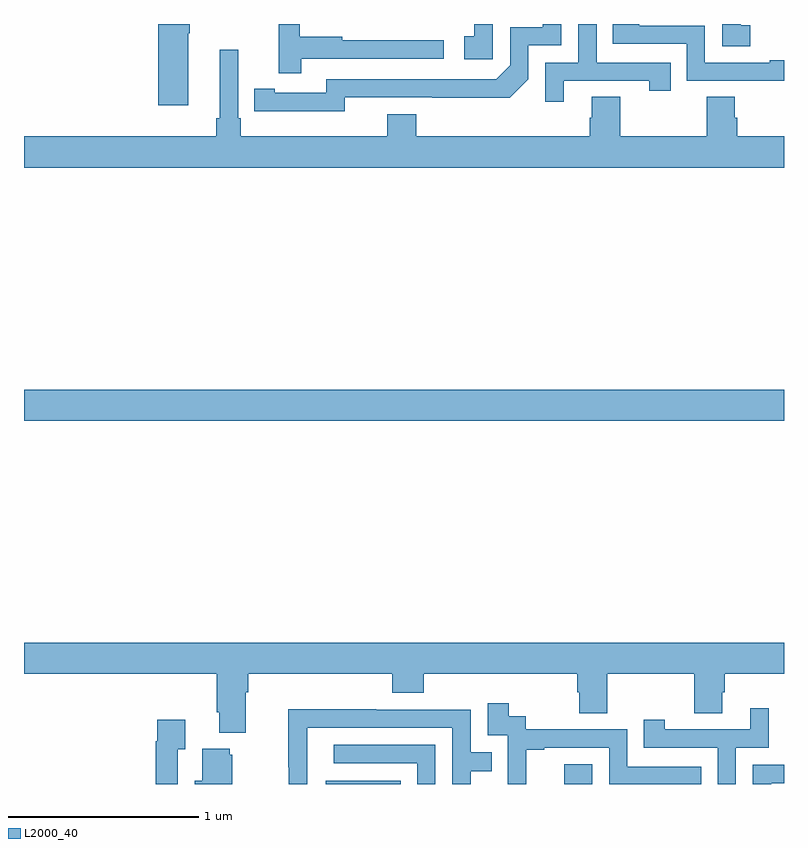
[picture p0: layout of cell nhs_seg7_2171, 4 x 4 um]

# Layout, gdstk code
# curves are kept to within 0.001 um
import gdstk
lib = gdstk.Library(unit=1e-6, precision=1e-09)
def R(c, l, rs):  # rectangles x0, y0, x1, y1
    for r in rs: c.add(gdstk.rectangle(r[:2], r[2:], *l))
def P(c, l, *ps):  # polygons
    for p in ps: c.add(gdstk.Polygon(p, *l))
L2000_40 = (2000, 40)

nhs_seg7_2171 = lib.new_cell('nhs_seg7_2171')
R(nhs_seg7_2171, L2000_40, [(254.588,1036,254.984,1036.018), (255.843,1036,255.99,1036.105), (253,1037.912,257,1038.076)])
P(nhs_seg7_2171, L2000_40, [(256.822,1039.993),(256.773,1039.993),(256.773,1040),(256.674,1040),(256.674,1039.884),(256.822,1039.884)],
  [(255.468,1040),(255.371,1040),(255.371,1039.935),(255.318,1039.935),(255.318,1039.815),(255.468,1039.815)],
  [(253.864,1039.951),(253.872,1039.951),(253.872,1040),(253.706,1040),(253.706,1039.572),(253.864,1039.572)],
  [(254.459,1039.818),(255.208,1039.818),(255.208,1039.914),(254.675,1039.914),(254.675,1039.934),(254.452,1039.934),(254.452,1040),(254.342,1040),(254.342,1039.74),(254.459,1039.74)],
  [(255.841,1039.701),(256.292,1039.701),(256.292,1039.65),(256.403,1039.65),(256.403,1039.797),(256.014,1039.797),(256.014,1040),(255.918,1040),(255.918,1039.797),(255.744,1039.797),(255.744,1039.59),(255.841,1039.59)],
  [(254.688,1039.614),(255.556,1039.613),(255.654,1039.71),(255.654,1039.887),(255.828,1039.887),(255.828,1040),(255.731,1040),(255.731,1039.983),(255.558,1039.983),(255.558,1039.782),(255.486,1039.71),(254.592,1039.71),(254.592,1039.638),(254.32,1039.638),(254.32,1039.658),(254.212,1039.658),(254.212,1039.542),(254.688,1039.541)],
  [(257,1039.81),(256.925,1039.81),(256.925,1039.797),(256.584,1039.797),(256.584,1039.992),(256.239,1039.992),(256.239,1040),(256.099,1040),(256.099,1039.896),(256.488,1039.896),(256.488,1039.701),(257,1039.701)],
  [(257,1039.408),(256.754,1039.408),(256.754,1039.506),(256.741,1039.506),(256.741,1039.616),(256.594,1039.616),(256.594,1039.408),(256.137,1039.408),(256.137,1039.616),(255.989,1039.616),(255.989,1039.506),(255.977,1039.506),(255.977,1039.408),(255.065,1039.408),(255.065,1039.525),(254.912,1039.525),(254.912,1039.408),(254.141,1039.408),(254.141,1039.504),(254.127,1039.504),(254.127,1039.864),(254.03,1039.864),(254.03,1039.504),(254.011,1039.504),(254.011,1039.408),(253,1039.408),(253,1039.244),(257,1039.244)],
  [(254.167,1036.484),(254.18,1036.484),(254.18,1036.58),(254.939,1036.58),(254.939,1036.481),(255.104,1036.481),(255.104,1036.58),(255.911,1036.58),(255.911,1036.482),(255.923,1036.482),(255.923,1036.372),(256.071,1036.372),(256.071,1036.58),(256.528,1036.58),(256.528,1036.372),(256.675,1036.372),(256.675,1036.482),(256.688,1036.482),(256.688,1036.58),(257,1036.58),(257,1036.744),(253,1036.744),(253,1036.58),(254.015,1036.58),(254.015,1036.378),(254.027,1036.378),(254.027,1036.271),(254.167,1036.271)],
  [(255.644,1036.179),(255.739,1036.179),(255.739,1036.191),(256.08,1036.191),(256.08,1036),(256.565,1036),(256.565,1036.092),(256.176,1036.092),(256.176,1036.287),(255.642,1036.287),(255.642,1036.356),(255.55,1036.356),(255.55,1036.426),(255.441,1036.426),(255.441,1036.257),(255.546,1036.257),(255.546,1036.028),(255.545,1036.028),(255.545,1036),(255.644,1036)],
  [(256.746,1036.191),(256.92,1036.191),(256.92,1036.399),(256.823,1036.399),(256.823,1036.287),(256.372,1036.287),(256.372,1036.339),(256.261,1036.339),(256.261,1036.191),(256.65,1036.191),(256.65,1036),(256.746,1036)],
  [(254.49,1036.042),(254.491,1036.042),(254.491,1036.296),(255.255,1036.296),(255.255,1036),(255.351,1036),(255.351,1036.066),(255.461,1036.066),(255.461,1036.167),(255.351,1036.167),(255.351,1036.392),(254.855,1036.392),(254.855,1036.394),(254.392,1036.394),(254.392,1036.087),(254.394,1036.087),(254.394,1036),(254.49,1036)],
  [(253.809,1036.183),(253.849,1036.183),(253.849,1036.339),(253.701,1036.339),(253.701,1036.226),(253.693,1036.226),(253.693,1036),(253.809,1036)],
  [(255.165,1036.206),(254.631,1036.206),(254.631,1036.11),(255.069,1036.11),(255.069,1036),(255.165,1036)],
  [(254.095,1036.155),(254.084,1036.155),(254.084,1036.186),(253.937,1036.186),(253.937,1036.018),(253.898,1036.018),(253.898,1036),(254.095,1036)],
  [(256.933,1036.005),(257,1036.005),(257,1036.101),(256.836,1036.101),(256.836,1036),(256.933,1036)])

lib.write_gds('nhs_seg7_2171.gds')
